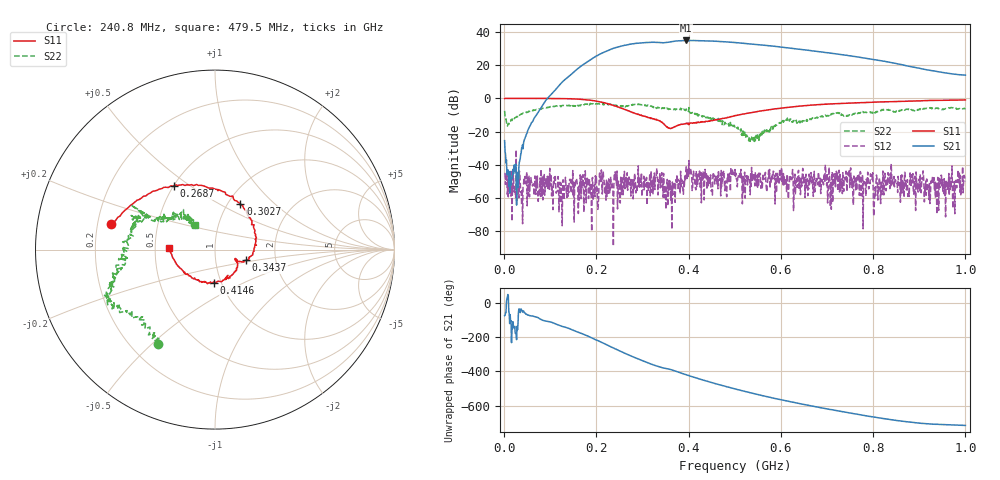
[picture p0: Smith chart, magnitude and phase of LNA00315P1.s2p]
! Created with skrf 1.9.0 (http://scikit-rf.org).
# Hz S RI R 50.0
!freq ReS11 ImS11 ReS21 ImS21 ReS12 ImS12 ReS22 ImS22
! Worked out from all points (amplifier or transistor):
!   1001 points, 1 MHz to 1 GHz, reference 50 ohm
!   highest |S21| = 34.9 dB at 394.6 MHz (marker M1)
!   |S21| within 3 dB of that: 260.1 MHz to 568.3 MHz (308.2 MHz wide, 74.4 % of centre)
!   unconditionally stable (mu >= 1): start of sweep to 85.79 MHz; 291 MHz to 394.6 MHz; 400.9 MHz to end of sweep (the widest 3 of 34)
!   at 166.8 MHz: K = 4.99, MAG = 30.0 dB, |S12| = -60.5 dB
!   at 500.5 MHz: K = 1.42, MAG = 34.4 dB, |S12| = -42.9 dB
!   at 1 GHz: K = 4.31, MAG = 22.7 dB, |S12| = -50.0 dB
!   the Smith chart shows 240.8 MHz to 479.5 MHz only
!   S11 on the Smith chart (normalised r, x): 240.8 MHz: 0.26, +0.11; 268.7 MHz: 0.50, +0.43; 302.7 MHz: 1.14, +0.64; 343.7 MHz: 1.41, -0.17; 414.6 MHz: 0.92, -0.35; 479.5 MHz: 0.59, +0.01
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1000000  0.9871 0.00633  0.0157 -0.0507  0.00286 -0.00459  0.334 0.2559
1.08892e8  0.5095 -0.8529  -0.7983 -1.476  -0.00358 -0.00226  0.4228 -0.3736
1.67833e8  -0.2531 -0.8978  -9.608 -0.4963  -0.000837 0.00441  0.053 -0.6363
2.08792e8  -0.6805 -0.3832  -15.18 15.78  0.00275 -0.00148  -0.2052 -0.6442
2.4076e8  -0.5777 0.1402  -1.759 33.44  -0.00544 0.00279  -0.3182 -0.5284
2.68732e8  -0.2303 0.3527  21.82 35.26  -0.000927 -0.00358  -0.488 -0.3425
3.02698e8  0.1416 0.2564  44.39 16.26  0.00279 0.00355  -0.5827 -0.2047
3.34666e8  0.2175 -0.00898  47.26 -9.73  -0.001 0.00338  -0.5185 -0.0517
3.43657e8  0.1731 -0.0597  45.05 -14.93  -0.000807 0.00266  -0.503 -0.0286
3.7063e8  0.1234 -0.0662  42.57 -31.78  0.000565 0.000475  -0.4362 0.1464
3.94606e8  0.0838 -0.1577  28.3 -47.68  0.000291 0.00865  -0.4235 0.2195
4.14586e8  -0.00754 -0.1841  13 -53.49  -8.11e-05 0.002  -0.2887 0.1675
4.45555e8  -0.1547 -0.135  -10.46 -52.41  0.0043 -0.00137  -0.1757 0.2229
4.79521e8  -0.2544 0.0113  -30.37 -40.33  0.00322 -0.000136  -0.1142 0.1353
5.005e8  -0.2754 0.1264  -38.12 -29.63  0.00195 0.00691  -0.0705 0.1157
5.4046e8  -0.1922 0.3304  -42.01 -8.328  0.00524 -7.94e-05  -0.0709 0.018
5.88412e8  0.0135 0.4823  -34.62 11.92  -0.000128 -0.00314  -0.1376 -0.0813
6.28372e8  0.2001 0.5266  -23.65 20.79  4.35e-05 0.00138  -0.1704 -0.131
6.67333e8  0.3898 0.4906  -12.47 23.89  -0.000792 -0.00271  -0.2442 -0.0563
7.53247e8  0.6675 0.2807  4.801 18.11  -0.00377 -0.00141  -0.3241 0.000581
8.34166e8  0.7903 0.0209  9.533 7.863  -0.00177 -0.00262  -0.4423 0.0583
1e9  0.7314 -0.5207  4.999 0.3476  -0.00181 0.0026  -0.2587 0.4194
